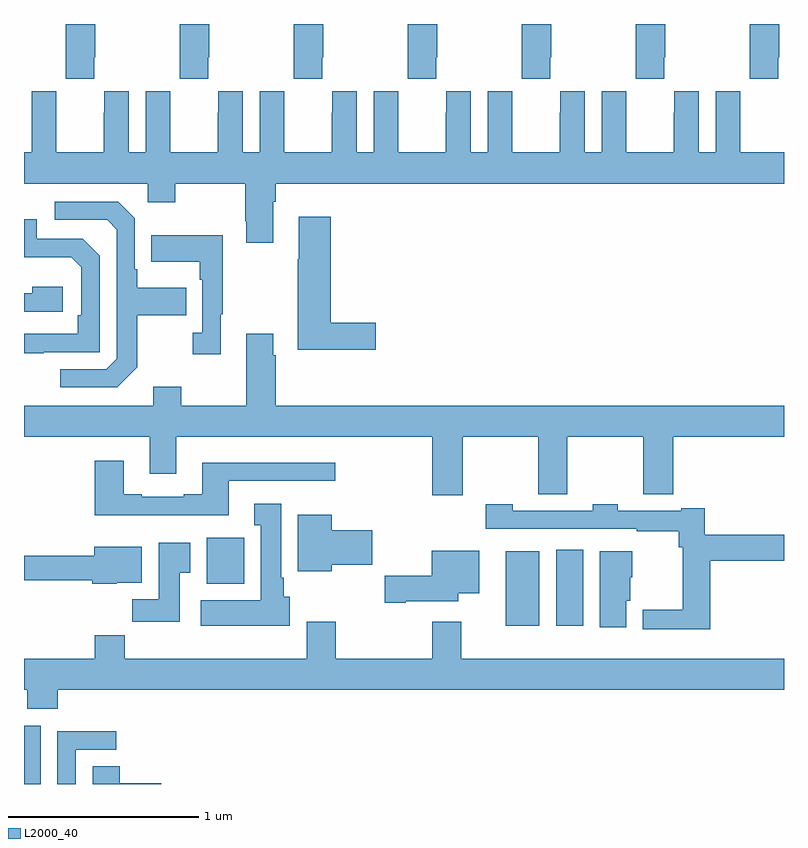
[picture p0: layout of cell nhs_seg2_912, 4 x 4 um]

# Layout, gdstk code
import gdstk
lib = gdstk.Library(unit=1e-6, precision=1e-09)
def R(c, l, rs):  # rectangles x0, y0, x1, y1
    for r in rs: c.add(gdstk.rectangle(r[:2], r[2:], *l))
def P(c, l, *ps):  # polygons
    for p in ps: c.add(gdstk.Polygon(p, *l))
L2000_40 = (2000, 40)

nhs_seg2_912 = lib.new_cell('nhs_seg2_912')
R(nhs_seg2_912, L2000_40, [(157,653.8,157.087,654.106), (159.536,654.632,159.712,655.024), (159.8,654.632,159.943,655.033), (157.961,654.854,158.158,655.096)])
P(nhs_seg2_912, L2000_40, [(159.771,657.625),(159.774,657.625),(159.774,657.8),(159.619,657.8),(159.619,657.625),(159.621,657.625),(159.621,657.513),(159.771,657.513)],
  [(159.171,657.625),(159.174,657.625),(159.174,657.8),(159.019,657.8),(159.019,657.625),(159.021,657.625),(159.021,657.513),(159.171,657.513)],
  [(158.571,657.625),(158.574,657.625),(158.574,657.8),(158.419,657.8),(158.419,657.625),(158.421,657.625),(158.421,657.513),(158.571,657.513)],
  [(157.971,657.625),(157.974,657.625),(157.974,657.8),(157.819,657.8),(157.819,657.625),(157.821,657.625),(157.821,657.513),(157.971,657.513)],
  [(157.371,657.625),(157.374,657.625),(157.374,657.8),(157.219,657.8),(157.219,657.625),(157.221,657.625),(157.221,657.513),(157.371,657.513)],
  [(160.371,657.625),(160.374,657.625),(160.374,657.8),(160.219,657.8),(160.219,657.625),(160.221,657.625),(160.221,657.513),(160.371,657.513)],
  [(160.971,657.625),(160.974,657.625),(160.974,657.8),(160.819,657.8),(160.819,657.625),(160.821,657.625),(160.821,657.513),(160.971,657.513)],
  [(158.311,656.864),(158.324,656.864),(158.324,656.96),(161,656.96),(161,657.124),(160.771,657.124),(160.771,657.332),(160.77,657.332),(160.77,657.445),(160.64,657.445),(160.64,657.124),(160.552,657.124),(160.552,657.445),(160.422,657.445),(160.422,657.332),(160.421,657.332),(160.421,657.124),(160.171,657.124),(160.171,657.332),(160.17,657.332),(160.17,657.445),(160.04,657.445),(160.04,657.124),(159.952,657.124),(159.952,657.445),(159.822,657.445),(159.822,657.332),(159.821,657.332),(159.821,657.124),(159.571,657.124),(159.571,657.332),(159.57,657.332),(159.57,657.445),(159.44,657.445),(159.44,657.124),(159.352,657.124),(159.352,657.445),(159.222,657.445),(159.222,657.332),(159.221,657.332),(159.221,657.124),(158.971,657.124),(158.971,657.332),(158.97,657.332),(158.97,657.445),(158.84,657.445),(158.84,657.124),(158.752,657.124),(158.752,657.445),(158.622,657.445),(158.622,657.332),(158.621,657.332),(158.621,657.124),(158.371,657.124),(158.371,657.332),(158.37,657.332),(158.37,657.445),(158.24,657.445),(158.24,657.124),(158.152,657.124),(158.152,657.445),(158.022,657.445),(158.022,657.332),(158.021,657.332),(158.021,657.124),(157.771,657.124),(157.771,657.332),(157.77,657.332),(157.77,657.445),(157.64,657.445),(157.64,657.124),(157.552,657.124),(157.552,657.445),(157.422,657.445),(157.422,657.332),(157.421,657.332),(157.421,657.124),(157.171,657.124),(157.171,657.332),(157.17,657.332),(157.17,657.445),(157.04,657.445),(157.04,657.124),(157,657.124),(157,656.96),(157.65,656.96),(157.65,656.861),(157.797,656.861),(157.797,656.96),(158.164,656.96),(158.164,656.761),(158.171,656.761),(158.171,656.649),(158.311,656.649)],
  [(157.597,655.993),(157.597,656.266),(157.853,656.266),(157.853,656.413),(157.597,656.413),(157.597,656.509),(157.584,656.509),(157.584,656.778),(157.497,656.865),(157.161,656.865),(157.161,656.769),(157.437,656.769),(157.488,656.718),(157.488,656.037),(157.434,655.983),(157.191,655.983),(157.191,655.887),(157.491,655.887)],
  [(158.851,656.228),(158.615,656.228),(158.615,656.785),(158.447,656.785),(158.447,656.561),(158.44,656.561),(158.44,656.086),(158.851,656.086)],
  [(157.103,656.073),(157.398,656.073),(157.398,656.58),(157.308,656.67),(157.068,656.67),(157.068,656.772),(157,656.772),(157,656.573),(157.249,656.573),(157.302,656.52),(157.302,656.266),(157.282,656.266),(157.282,656.169),(157,656.169),(157,656.068),(157.103,656.068)],
  [(158.035,656.273),(158.047,656.273),(158.047,656.689),(157.669,656.689),(157.669,656.549),(157.926,656.549),(157.926,656.453),(157.938,656.453),(157.938,656.174),(157.887,656.174),(157.887,656.061),(158.035,656.061)],
  [(157.204,656.416),(157.043,656.416),(157.043,656.382),(157,656.382),(157,656.286),(157.204,656.286)],
  [(159.309,655.628),(159.706,655.628),(159.706,655.324),(159.86,655.324),(159.86,655.628),(160.258,655.628),(160.258,655.324),(160.418,655.324),(160.418,655.628),(161,655.628),(161,655.792),(158.324,655.792),(158.324,656.057),(158.311,656.057),(158.311,656.17),(158.171,656.17),(158.171,655.792),(157.827,655.792),(157.827,655.891),(157.679,655.891),(157.679,655.792),(157,655.792),(157,655.628),(157.661,655.628),(157.661,655.434),(157.801,655.434),(157.801,655.628),(159.149,655.628),(159.149,655.32),(159.309,655.32)],
  [(158.077,655.395),(158.638,655.395),(158.638,655.492),(157.937,655.492),(157.937,655.324),(157.841,655.324),(157.841,655.311),(157.621,655.311),(157.621,655.324),(157.525,655.324),(157.525,655.501),(157.373,655.501),(157.373,655.214),(158.077,655.214)],
  [(158.398,654.786),(158.368,654.786),(158.368,654.886),(158.353,654.886),(158.353,655.276),(158.213,655.276),(158.213,655.163),(158.246,655.163),(158.246,654.766),(157.929,654.766),(157.929,654.632),(158.398,654.632)],
  [(160.613,654.976),(161,654.976),(161,655.112),(160.583,655.112),(160.583,655.252),(160.46,655.252),(160.46,655.239),(160.125,655.239),(160.125,655.272),(159.993,655.272),(159.993,655.239),(159.573,655.239),(159.573,655.272),(159.429,655.272),(159.429,655.143),(160.225,655.143),(160.225,655.131),(160.447,655.131),(160.447,655.046),(160.466,655.046),(160.466,654.716),(160.257,654.716),(160.257,654.614),(160.613,654.614)],
  [(158.62,654.953),(158.833,654.953),(158.833,655.136),(158.62,655.136),(158.62,655.216),(158.441,655.216),(158.441,654.92),(158.62,654.92)],
  [(157.819,654.913),(157.876,654.913),(157.876,655.069),(157.709,655.069),(157.709,654.772),(157.57,654.772),(157.57,654.654),(157.819,654.654)],
  [(157.488,654.86),(157.621,654.86),(157.621,655.048),(157.37,655.048),(157.37,655.001),(157,655.001),(157,654.873),(157.358,654.873),(157.358,654.854),(157.488,654.854)],
  [(159.01,654.761),(159.286,654.761),(159.286,654.803),(159.397,654.803),(159.397,655.027),(159.146,655.027),(159.146,654.896),(158.898,654.896),(158.898,654.754),(159.01,654.754)],
  [(160.171,654.765),(160.192,654.765),(160.192,654.888),(160.201,654.888),(160.201,655.024),(160.031,655.024),(160.031,654.624),(160.171,654.624)],
  [(157.178,654.296),(161,654.296),(161,654.46),(159.301,654.46),(159.301,654.655),(159.149,654.655),(159.149,654.46),(158.642,654.46),(158.642,654.655),(158.489,654.655),(158.489,654.46),(157.529,654.46),(157.529,654.584),(157.373,654.584),(157.373,654.46),(157,654.46),(157,654.296),(157.018,654.296),(157.018,654.197),(157.178,654.197)],
  [(157.272,653.979),(157.486,653.979),(157.486,654.078),(157.176,654.078),(157.176,653.8),(157.272,653.8)],
  [(157.723,653.804),(157.505,653.804),(157.505,653.894),(157.361,653.894),(157.361,653.8),(157.723,653.8)])

lib.write_gds('nhs_seg2_912.gds')
